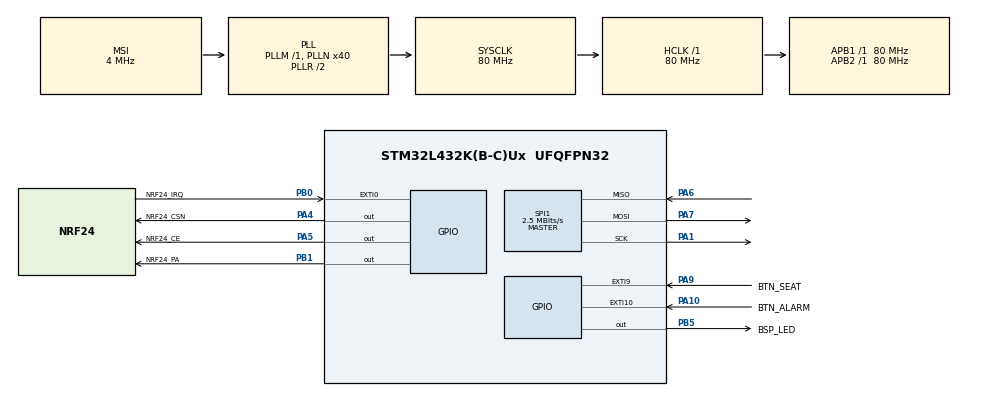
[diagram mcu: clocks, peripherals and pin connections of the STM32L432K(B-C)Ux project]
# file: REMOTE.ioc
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FREERTOS.INCLUDE_vTaskDelayUntil=1
FREERTOS.Tasks01=KeylessTask,0,256,StartKeylessTask,Default,NULL,Dynamic,NULL,NULL
FREERTOS.configCHECK_FOR_STACK_OVERFLOW=2
FREERTOS.configMINIMAL_STACK_SIZE=128
FREERTOS.configUSE_MALLOC_FAILED_HOOK=1
FREERTOS.configUSE_TICKLESS_IDLE=0
IWDG.Prescaler=IWDG_PRESCALER_32
Mcu.Family=STM32L4
Mcu.Name=STM32L432K(B-C)Ux
Mcu.Package=UFQFPN32
Mcu.UserConstants=PING_INTERVAL_MS,3000;IWDG_TIMEOUT_MS,4095
NVIC.EXTI0_IRQn=true\:5\:0\:false\:false\:true\:true\:true\:true
NVIC.EXTI15_10_IRQn=true\:5\:0\:false\:false\:true\:true\:true\:true
NVIC.EXTI9_5_IRQn=true\:5\:0\:false\:false\:true\:true\:true\:true
NVIC.PriorityGroup=NVIC_PRIORITYGROUP_4
NVIC.RTC_WKUP_IRQn=true\:5\:0\:false\:false\:true\:true\:true\:true
NVIC.TIM1_UP_TIM16_IRQn=true\:0\:0\:false\:false\:true\:false\:false\:true
NVIC.TimeBase=TIM1_UP_TIM16_IRQn
NVIC.TimeBaseIP=TIM1
PA1.Mode=Full_Duplex_Master
PA1.Signal=SPI1_SCK
PA10.GPIO_Label=BTN_ALARM
PA10.GPIO_PuPd=GPIO_PULLDOWN
PA10.Signal=GPXTI10
PA13\ (JTMS-SWDIO).Mode=Trace_Asynchronous_SW
PA13\ (JTMS-SWDIO).Signal=SYS_JTMS-SWDIO
PA14\ (JTCK-SWCLK).Mode=Trace_Asynchronous_SW
PA14\ (JTCK-SWCLK).Signal=SYS_JTCK-SWCLK
PA4.GPIO_Label=NRF24_CSN
PA4.GPIO_Speed=GPIO_SPEED_FREQ_MEDIUM
PA4.PinState=GPIO_PIN_SET
PA4.Signal=GPIO_Output
PA5.GPIO_Label=NRF24_CE
PA5.GPIO_Speed=GPIO_SPEED_FREQ_MEDIUM
PA5.Signal=GPIO_Output
PA6.Mode=Full_Duplex_Master
PA6.Signal=SPI1_MISO
PA7.Mode=Full_Duplex_Master
PA7.Signal=SPI1_MOSI
PA9.GPIO_Label=BTN_SEAT
PA9.GPIO_PuPd=GPIO_PULLDOWN
PA9.Signal=GPXTI9
PB0.GPIO_Label=NRF24_IRQ
PB0.GPIO_ModeDefaultEXTI=GPIO_MODE_IT_FALLING
PB0.GPIO_PuPd=GPIO_PULLUP
PB0.Signal=GPXTI0
PB1.GPIO_Label=NRF24_PA
PB1.PinState=GPIO_PIN_SET
PB1.Signal=GPIO_Output
PB3\ (JTDO-TRACESWO).Mode=Trace_Asynchronous_SW
PB3\ (JTDO-TRACESWO).Signal=SYS_JTDO-SWO
PB5.GPIO_Label=BSP_LED
PB5.Signal=GPIO_Output
PC14-OSC32_IN\ (PC14).Mode=LSE-External-Oscillator
PC14-OSC32_IN\ (PC14).Signal=RCC_OSC32_IN
PC15-OSC32_OUT\ (PC15).Mode=LSE-External-Oscillator
PC15-OSC32_OUT\ (PC15).Signal=RCC_OSC32_OUT
ProjectManager.HeapSize=0x200
ProjectManager.StackSize=0x400
ProjectManager.TargetToolchain=STM32CubeIDE
RCC.ADCFreq_Value=16000000
RCC.AHBFreq_Value=80000000
RCC.APB1Freq_Value=80000000
RCC.APB1TimFreq_Value=80000000
RCC.APB2Freq_Value=80000000
RCC.APB2TimFreq_Value=80000000
RCC.CortexFreq_Value=80000000
RCC.HCLKFreq_Value=80000000
RCC.HSE_Timout=100
RCC.HSE_VALUE=8000000
RCC.HSI48_VALUE=48000000
RCC.HSI_VALUE=16000000
RCC.LSE_Timout=5000
RCC.MSI_VALUE=4000000
RCC.PLLN=40
RCC.RTCClockSelection=RCC_RTCCLKSOURCE_LSE
RCC.SYSCLKFreq_VALUE=80000000
RCC.SYSCLKSource=RCC_SYSCLKSOURCE_PLLCLK
RCC.USBFreq_Value=16000000
RCC.VCOOutputFreq_Value=160000000
RCC.VDD_VALUE=3.3
SPI1.BaudRatePrescaler=SPI_BAUDRATEPRESCALER_32
SPI1.CalculateBaudRate=2.5 MBits/s
SPI1.DataSize=SPI_DATASIZE_8BIT
SPI1.Direction=SPI_DIRECTION_2LINES
SPI1.Mode=SPI_MODE_MASTER
SPI1.VirtualType=VM_MASTER
VP_FREERTOS_VS_CMSIS_V1.Mode=CMSIS_V1
VP_IWDG_VS_IWDG.Mode=IWDG_Activate
VP_RTC_VS_RTC_Activate.Mode=RTC_Enabled
VP_RTC_VS_RTC_WakeUp_intern.Mode=WakeUp
VP_SYS_VS_tim1.Mode=TIM1
board=custom

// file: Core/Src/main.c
/* USER CODE BEGIN Header */
/**
 ******************************************************************************
 * @file           : main.c
 * @brief          : Main program body
 ******************************************************************************
 * @attention
 *
 * <h2><center>&copy; Copyright (c) 2019 STMicroelectronics.
 * All rights reserved.</center></h2>
 *
 * This software component is licensed by ST under BSD 3-Clause license,
 * the "License"; You may not use this file except in compliance with the
 * License. You may obtain a copy of the License at:
 *                        opensource.org/licenses/BSD-3-Clause
 *
 ******************************************************************************
 */
/* USER CODE END Header */

#include "main.h"
#include "cmsis_os.h"

/* USER CODE BEGIN Includes */
#include "limits.h"
#include "_config.h"
#include "_nrf24l01.h"
/* USER CODE END Includes */

IWDG_HandleTypeDef hiwdg;

RTC_HandleTypeDef hrtc;

SPI_HandleTypeDef hspi1;

osThreadId KeylessTaskHandle;

void SystemClock_Config(void);
static void MX_GPIO_Init(void);
static void MX_SPI1_Init(void);
static void MX_RTC_Init(void);
static void MX_IWDG_Init(void);
void StartKeylessTask(void const *argument);

/* USER CODE BEGIN PFP */
void PreSleepProcessing(void);
void PostSleepProcessing(void);
/* USER CODE END PFP */

int main(void)
{

	/* MCU Configuration--------------------------------------------------------*/

	/* Reset of all peripherals, Initializes the Flash interface and the Systick. */
	HAL_Init();

	/* Configure the system clock */
	SystemClock_Config();

	/* Initialize all configured peripherals */
	MX_GPIO_Init();
	MX_SPI1_Init();
	MX_RTC_Init();
	MX_IWDG_Init();

	/* Create the thread(s) */
	/* definition and creation of KeylessTask */
	osThreadDef(KeylessTask, StartKeylessTask, osPriorityNormal, 0, 256);
	KeylessTaskHandle = osThreadCreate(osThread(KeylessTask), NULL);

	/* Start scheduler */
	osKernelStart();

	/* We should never get here as control is now taken by the scheduler */

	/* Infinite loop */
	while (1)
	{

	}
}

void SystemClock_Config(void)
{
	RCC_OscInitTypeDef RCC_OscInitStruct = { 0 };
	RCC_ClkInitTypeDef RCC_ClkInitStruct = { 0 };
	RCC_PeriphCLKInitTypeDef PeriphClkInit = { 0 };

	/** Configure LSE Drive Capability
	 */
	HAL_PWR_EnableBkUpAccess();
	__HAL_RCC_LSEDRIVE_CONFIG(RCC_LSEDRIVE_LOW);
	/** Initializes the CPU, AHB and APB busses clocks
	 */
	RCC_OscInitStruct.OscillatorType = RCC_OSCILLATORTYPE_LSI | RCC_OSCILLATORTYPE_LSE
			| RCC_OSCILLATORTYPE_MSI;
	RCC_OscInitStruct.LSEState = RCC_LSE_ON;
	RCC_OscInitStruct.LSIState = RCC_LSI_ON;
	RCC_OscInitStruct.MSIState = RCC_MSI_ON;
	RCC_OscInitStruct.MSICalibrationValue = 0;
	RCC_OscInitStruct.MSIClockRange = RCC_MSIRANGE_6;
	RCC_OscInitStruct.PLL.PLLState = RCC_PLL_ON;
	RCC_OscInitStruct.PLL.PLLSource = RCC_PLLSOURCE_MSI;
	RCC_OscInitStruct.PLL.PLLM = 1;
	RCC_OscInitStruct.PLL.PLLN = 40;
	RCC_OscInitStruct.PLL.PLLP = RCC_PLLP_DIV7;
	RCC_OscInitStruct.PLL.PLLQ = RCC_PLLQ_DIV2;
	RCC_OscInitStruct.PLL.PLLR = RCC_PLLR_DIV2;
	if (HAL_RCC_OscConfig(&RCC_OscInitStruct) != HAL_OK)
			{
		Error_Handler();
	}
	/** Initializes the CPU, AHB and APB busses clocks
	 */
	RCC_ClkInitStruct.ClockType = RCC_CLOCKTYPE_HCLK | RCC_CLOCKTYPE_SYSCLK
			| RCC_CLOCKTYPE_PCLK1 | RCC_CLOCKTYPE_PCLK2;
	RCC_ClkInitStruct.SYSCLKSource = RCC_SYSCLKSOURCE_PLLCLK;
	RCC_ClkInitStruct.AHBCLKDivider = RCC_SYSCLK_DIV1;
	RCC_ClkInitStruct.APB1CLKDivider = RCC_HCLK_DIV1;
	RCC_ClkInitStruct.APB2CLKDivider = RCC_HCLK_DIV1;

	if (HAL_RCC_ClockConfig(&RCC_ClkInitStruct, FLASH_LATENCY_4) != HAL_OK)
			{
		Error_Handler();
	}
	PeriphClkInit.PeriphClockSelection = RCC_PERIPHCLK_RTC;
	PeriphClkInit.RTCClockSelection = RCC_RTCCLKSOURCE_LSE;
	if (HAL_RCCEx_PeriphCLKConfig(&PeriphClkInit) != HAL_OK)
			{
		Error_Handler();
	}
	/** Configure the main internal regulator output voltage
	 */
	if (HAL_PWREx_ControlVoltageScaling(PWR_REGULATOR_VOLTAGE_SCALE1) != HAL_OK)
			{
		Error_Handler();
	}
	/** Enable MSI Auto calibration
	 */
	HAL_RCCEx_EnableMSIPLLMode();
}

static void MX_IWDG_Init(void)
{

	hiwdg.Instance = IWDG;
	hiwdg.Init.Prescaler = IWDG_PRESCALER_32;
	hiwdg.Init.Window = 4095;
	hiwdg.Init.Reload = 4095;
	if (HAL_IWDG_Init(&hiwdg) != HAL_OK)
			{
		Error_Handler();
	}

}

static void MX_RTC_Init(void)
{

	/** Initialize RTC Only
	 */
	hrtc.Instance = RTC;
	hrtc.Init.HourFormat = RTC_HOURFORMAT_24;
	hrtc.Init.AsynchPrediv = 127;
	hrtc.Init.SynchPrediv = 255;
	hrtc.Init.OutPut = RTC_OUTPUT_DISABLE;
	hrtc.Init.OutPutRemap = RTC_OUTPUT_REMAP_NONE;
	hrtc.Init.OutPutPolarity = RTC_OUTPUT_POLARITY_HIGH;
	hrtc.Init.OutPutType = RTC_OUTPUT_TYPE_OPENDRAIN;
	if (HAL_RTC_Init(&hrtc) != HAL_OK)
			{
		Error_Handler();
	}
	/** Enable the WakeUp
	 */
	if (HAL_RTCEx_SetWakeUpTimer_IT(&hrtc, 0, RTC_WAKEUPCLOCK_RTCCLK_DIV16) != HAL_OK)
			{
		Error_Handler();
	}

}

static void MX_SPI1_Init(void)
{

	/* SPI1 parameter configuration*/
	hspi1.Instance = SPI1;
	hspi1.Init.Mode = SPI_MODE_MASTER;
	hspi1.Init.Direction = SPI_DIRECTION_2LINES;
	hspi1.Init.DataSize = SPI_DATASIZE_8BIT;
	hspi1.Init.CLKPolarity = SPI_POLARITY_LOW;
	hspi1.Init.CLKPhase = SPI_PHASE_1EDGE;
	hspi1.Init.NSS = SPI_NSS_SOFT;
	hspi1.Init.BaudRatePrescaler = SPI_BAUDRATEPRESCALER_32;
	hspi1.Init.FirstBit = SPI_FIRSTBIT_MSB;
	hspi1.Init.TIMode = SPI_TIMODE_DISABLE;
	hspi1.Init.CRCCalculation = SPI_CRCCALCULATION_DISABLE;
	hspi1.Init.CRCPolynomial = 7;
	hspi1.Init.CRCLength = SPI_CRC_LENGTH_DATASIZE;
	hspi1.Init.NSSPMode = SPI_NSS_PULSE_ENABLE;
	if (HAL_SPI_Init(&hspi1) != HAL_OK)
			{
		Error_Handler();
	}

}

static void MX_GPIO_Init(void)
{
	GPIO_InitTypeDef GPIO_InitStruct = { 0 };

	/* GPIO Ports Clock Enable */
	__HAL_RCC_GPIOC_CLK_ENABLE();
	__HAL_RCC_GPIOA_CLK_ENABLE();
	__HAL_RCC_GPIOB_CLK_ENABLE();
	__HAL_RCC_GPIOH_CLK_ENABLE();

	/*Configure GPIO pin Output Level */
	HAL_GPIO_WritePin(NRF24_CSN_GPIO_Port, NRF24_CSN_Pin, GPIO_PIN_SET);

	/*Configure GPIO pin Output Level */
	HAL_GPIO_WritePin(NRF24_CE_GPIO_Port, NRF24_CE_Pin, GPIO_PIN_RESET);

	/*Configure GPIO pin Output Level */
	HAL_GPIO_WritePin(NRF24_PA_GPIO_Port, NRF24_PA_Pin, GPIO_PIN_SET);

	/*Configure GPIO pin Output Level */
	HAL_GPIO_WritePin(BSP_LED_GPIO_Port, BSP_LED_Pin, GPIO_PIN_RESET);

	/*Configure GPIO pins : PA0 PA2 PA3 PA8
	 PA11 PA12 PA15 */
	GPIO_InitStruct.Pin = GPIO_PIN_0 | GPIO_PIN_2 | GPIO_PIN_3 | GPIO_PIN_8
			| GPIO_PIN_11 | GPIO_PIN_12 | GPIO_PIN_15;
	GPIO_InitStruct.Mode = GPIO_MODE_ANALOG;
	GPIO_InitStruct.Pull = GPIO_NOPULL;
	HAL_GPIO_Init(GPIOA, &GPIO_InitStruct);

	/*Configure GPIO pins : NRF24_CSN_Pin NRF24_CE_Pin */
	GPIO_InitStruct.Pin = NRF24_CSN_Pin | NRF24_CE_Pin;
	GPIO_InitStruct.Mode = GPIO_MODE_OUTPUT_PP;
	GPIO_InitStruct.Pull = GPIO_NOPULL;
	GPIO_InitStruct.Speed = GPIO_SPEED_FREQ_MEDIUM;
	HAL_GPIO_Init(GPIOA, &GPIO_InitStruct);

	/*Configure GPIO pin : NRF24_IRQ_Pin */
	GPIO_InitStruct.Pin = NRF24_IRQ_Pin;
	GPIO_InitStruct.Mode = GPIO_MODE_IT_FALLING;
	GPIO_InitStruct.Pull = GPIO_PULLUP;
	HAL_GPIO_Init(NRF24_IRQ_GPIO_Port, &GPIO_InitStruct);

	/*Configure GPIO pins : NRF24_PA_Pin BSP_LED_Pin */
	GPIO_InitStruct.Pin = NRF24_PA_Pin | BSP_LED_Pin;
	GPIO_InitStruct.Mode = GPIO_MODE_OUTPUT_PP;
	GPIO_InitStruct.Pull = GPIO_NOPULL;
	GPIO_InitStruct.Speed = GPIO_SPEED_FREQ_LOW;
	HAL_GPIO_Init(GPIOB, &GPIO_InitStruct);

	/*Configure GPIO pins : BTN_SEAT_Pin BTN_ALARM_Pin */
	GPIO_InitStruct.Pin = BTN_SEAT_Pin | BTN_ALARM_Pin;
	GPIO_InitStruct.Mode = GPIO_MODE_IT_RISING;
	GPIO_InitStruct.Pull = GPIO_PULLDOWN;
	HAL_GPIO_Init(GPIOA, &GPIO_InitStruct);

	/*Configure GPIO pins : PB4 PB6 PB7 */
	GPIO_InitStruct.Pin = GPIO_PIN_4 | GPIO_PIN_6 | GPIO_PIN_7;
	GPIO_InitStruct.Mode = GPIO_MODE_ANALOG;
	GPIO_InitStruct.Pull = GPIO_NOPULL;
	HAL_GPIO_Init(GPIOB, &GPIO_InitStruct);

	/*Configure GPIO pin : PH3 */
	GPIO_InitStruct.Pin = GPIO_PIN_3;
	GPIO_InitStruct.Mode = GPIO_MODE_ANALOG;
	GPIO_InitStruct.Pull = GPIO_NOPULL;
	HAL_GPIO_Init(GPIOH, &GPIO_InitStruct);

	/* EXTI interrupt init*/
	HAL_NVIC_SetPriority(EXTI0_IRQn, 5, 0);
	HAL_NVIC_EnableIRQ(EXTI0_IRQn);

	HAL_NVIC_SetPriority(EXTI9_5_IRQn, 5, 0);
	HAL_NVIC_EnableIRQ(EXTI9_5_IRQn);

	HAL_NVIC_SetPriority(EXTI15_10_IRQn, 5, 0);
	HAL_NVIC_EnableIRQ(EXTI15_10_IRQn);

}

/* USER CODE BEGIN 4 */
void HAL_GPIO_EXTI_Callback(uint16_t GPIO_Pin) {
	BaseType_t xHigherPriorityTaskWoken = pdFALSE;
	extern nrf24l01 nrf;

	if (osKernelRunning()) {
		// handle NRF24 IRQ
		if (GPIO_Pin == NRF24_IRQ_Pin) {
			nrf_irq_handler(&nrf);
		}
		// handle buttons
		if (GPIO_Pin == BTN_ALARM_Pin || GPIO_Pin == BTN_SEAT_Pin) {
			xTaskNotifyFromISR(KeylessTaskHandle, GPIO_Pin, eSetBits, &xHigherPriorityTaskWoken);
		}
	}

	portYIELD_FROM_ISR(xHigherPriorityTaskWoken);
}

void PreSleepProcessing(void)
{
	GPIO_InitTypeDef GPIO_InitStruct = { 0 };

	// Prepare to enter sleep mode
	__HAL_RCC_SPI1_CLK_DISABLE();
	GPIO_InitStruct.Pin = GPIO_PIN_1 | GPIO_PIN_6 | GPIO_PIN_7;
	GPIO_InitStruct.Mode = GPIO_MODE_OUTPUT_PP;
	GPIO_InitStruct.Pull = GPIO_PULLDOWN;
	HAL_GPIO_Init(GPIOA, &GPIO_InitStruct);
	__HAL_RCC_GPIOA_CLK_DISABLE();

	/* RTC Wakeup Interrupt Generation:
	 RTC_WAKEUPCLOCK_RTCCLK_DIV = RTCCLK_Div16 = 16

	 Wakeup Time Base = (RTC_WAKEUPCLOCK_RTCCLK_DIV /(LSE))
	 Wakeup Time = Wakeup Time Base * WakeUpCounter
	 WakeUpCounter = Wakeup Time / Wakeup Time Base

	 To configure the wake up timer to:
	 Wakeup Time Base = 16 / (32.768KHz) = 0.48828125 ms
	 WakeUpCounter = X ms / 0.48828125 ms = ?

	 Therefore, maximum wake-up counter = 65535 = 0xFFFF
	 */
	HAL_RTCEx_SetWakeUpTimer_IT(&hrtc, ((PING_INTERVAL_MS * 1000) / 488), RTC_WAKEUPCLOCK_RTCCLK_DIV16);

	// Suspend the tick
	HAL_SuspendTick();

	// Enter STOP 2 mode
	HAL_PWREx_EnterSTOP2Mode(PWR_STOPENTRY_WFI);
}

void PostSleepProcessing(void)
{
	GPIO_InitTypeDef GPIO_InitStruct = { 0 };

	// Resume the tick
	HAL_ResumeTick();

	// Re-Configure the system clock
	SystemClock_Config();

	/* Disable all used wake-up source */
	HAL_RTCEx_DeactivateWakeUpTimer(&hrtc);

	// Re-Init the SPI
	__HAL_RCC_SPI1_CLK_ENABLE();
	__HAL_RCC_GPIOA_CLK_ENABLE();
	GPIO_InitStruct.Pin = GPIO_PIN_1 | GPIO_PIN_6 | GPIO_PIN_7;
	GPIO_InitStruct.Mode = GPIO_MODE_AF_PP;
	GPIO_InitStruct.Pull = GPIO_NOPULL;
	GPIO_InitStruct.Speed = GPIO_SPEED_FREQ_VERY_HIGH;
	GPIO_InitStruct.Alternate = GPIO_AF5_SPI1;
	HAL_GPIO_Init(GPIOA, &GPIO_InitStruct);
}

/* USER CODE END 4 */

void StartKeylessTask(void const *argument)
{
	/* USER CODE BEGIN 5 */
	extern nrf24l01 nrf;
	uint32_t GPIO_Pin;
	GPIO_TypeDef *GPIO_Port;
	BaseType_t xResult;
	nrf24l01_config config;
	NRF_TX_PWR power;

	uint8_t msg;
	uint8_t payload_length = 8;
	uint8_t payload_tx[] = { 0, 0, 0, 0, 0, 0, 0, 0 };

	// set configuration
	nrf_set_config(&config, payload_tx, payload_length);
	// initialization
	nrf_init(&nrf, &config);

	/* Infinite loop */
	for (;;) {
		// Fed the dog
		HAL_IWDG_Refresh(&hiwdg);

		// set default power to lowest
		power = NRF_TX_PWR_M18dBm;
		msg = MSG_KEYLESS_BROADCAST;

		// check if event happen
		xResult = xTaskNotifyWait(0x00, ULONG_MAX, &GPIO_Pin, pdMS_TO_TICKS(0));

		// do this if events occurred
		if (xResult == pdTRUE) {
			// handle bounce effect
			osDelay(50);
			xTaskNotifyStateClear(NULL);

			// read again the value
			GPIO_Port = (GPIO_Pin == BTN_ALARM_Pin ? BTN_ALARM_GPIO_Port : BTN_SEAT_GPIO_Port);
			if (HAL_GPIO_ReadPin(GPIO_Port, GPIO_Pin)) {
				// only check when button HIGH
				if ((GPIO_Pin == BTN_ALARM_Pin)) {
					// Finder command
					msg = MSG_KEYLESS_FINDER;
					power = NRF_TX_PWR_0dBm;
				} else {
					// Seat Unlock command
					msg = MSG_KEYLESS_SEAT;
				}
			}
		}

		if (xResult == pdFALSE || msg != MSG_KEYLESS_BROADCAST) {
			// prepare payload
			payload_tx[payload_length - 1] = msg;
			Set_PA((power == NRF_TX_PWR_0dBm));

			// change "Power Down" -> "Standby I"
			nrf_power_up(&nrf, 1);

			// "Standby I" : set power
			nrf_set_tx_power(&nrf, power);

			// "TX Mode" : send packet (blocking)
			nrf_send_packet_noack(&nrf, payload_tx);

			// change "TX Mode" -> "Power Down"
			ce_reset(&nrf);
			nrf_power_up(&nrf, 0);

			//			// indicator
			//			for (int i = 0; i < ((msg + 1) * 2); i++) {
			//				BSP_Led_Toggle();
			//				osDelay(50);
			//			}
		}

		// Enter Stop-2 mode
		PreSleepProcessing();

		// Exit Stop-2 mode
		PostSleepProcessing();
	}
	/* USER CODE END 5 */
}

void HAL_TIM_PeriodElapsedCallback(TIM_HandleTypeDef *htim)
{
	if (htim->Instance == TIM1) {
		HAL_IncTick();
	}
}

void Error_Handler(void)
{
	/* USER CODE BEGIN Error_Handler_Debug */
	/* User can add his own implementation to report the HAL error return state */
	while (1)
		;

	/* USER CODE END Error_Handler_Debug */
}

/************************ (C) COPYRIGHT STMicroelectronics *****END OF FILE****/

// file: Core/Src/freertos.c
/* USER CODE BEGIN Header */
/**
  ******************************************************************************
  * File Name          : freertos.c
  * Description        : Code for freertos applications
  ******************************************************************************
  * @attention
  *
  * <h2><center>&copy; Copyright (c) 2019 STMicroelectronics.
  * All rights reserved.</center></h2>
  *
  * This software component is licensed by ST under Ultimate Liberty license
  * SLA0044, the "License"; You may not use this file except in compliance with
  * the License. You may obtain a copy of the License at:
  *                             www.st.com/SLA0044
  *
  ******************************************************************************
  */
/* USER CODE END Header */

#include "FreeRTOS.h"
#include "task.h"
#include "main.h"

/* Pre/Post sleep processing prototypes */
void PreSleepProcessing(uint32_t *ulExpectedIdleTime);
void PostSleepProcessing(uint32_t *ulExpectedIdleTime);

/* GetIdleTaskMemory prototype (linked to static allocation support) */
void vApplicationGetIdleTaskMemory( StaticTask_t **ppxIdleTaskTCBBuffer, StackType_t **ppxIdleTaskStackBuffer, uint32_t *pulIdleTaskStackSize );

/* Hook prototypes */
void vApplicationStackOverflowHook(xTaskHandle xTask, signed char *pcTaskName);
void vApplicationMallocFailedHook(void);

/* USER CODE BEGIN 4 */
__weak void vApplicationStackOverflowHook(xTaskHandle xTask, signed char *pcTaskName)
{
   /* Run time stack overflow checking is performed if
   configCHECK_FOR_STACK_OVERFLOW is defined to 1 or 2. This hook function is
   called if a stack overflow is detected. */
}
/* USER CODE END 4 */

/* USER CODE BEGIN 5 */
__weak void vApplicationMallocFailedHook(void)
{
   /* vApplicationMallocFailedHook() will only be called if
   configUSE_MALLOC_FAILED_HOOK is set to 1 in FreeRTOSConfig.h. It is a hook
   function that will get called if a call to pvPortMalloc() fails.
   pvPortMalloc() is called internally by the kernel whenever a task, queue,
   timer or semaphore is created. It is also called by various parts of the
   demo application. If heap_1.c or heap_2.c are used, then the size of the
   heap available to pvPortMalloc() is defined by configTOTAL_HEAP_SIZE in
   FreeRTOSConfig.h, and the xPortGetFreeHeapSize() API function can be used
   to query the size of free heap space that remains (although it does not
   provide information on how the remaining heap might be fragmented). */
}
/* USER CODE END 5 */

/* USER CODE BEGIN PREPOSTSLEEP */
__weak void PreSleepProcessing(uint32_t *ulExpectedIdleTime)
{
/* place for user code */
}

__weak void PostSleepProcessing(uint32_t *ulExpectedIdleTime)
{
/* place for user code */
}
/* USER CODE END PREPOSTSLEEP */

/* USER CODE BEGIN GET_IDLE_TASK_MEMORY */
static StaticTask_t xIdleTaskTCBBuffer;
static StackType_t xIdleStack[configMINIMAL_STACK_SIZE];

void vApplicationGetIdleTaskMemory( StaticTask_t **ppxIdleTaskTCBBuffer, StackType_t **ppxIdleTaskStackBuffer, uint32_t *pulIdleTaskStackSize )
{
  *ppxIdleTaskTCBBuffer = &xIdleTaskTCBBuffer;
  *ppxIdleTaskStackBuffer = &xIdleStack[0];
  *pulIdleTaskStackSize = configMINIMAL_STACK_SIZE;
  /* place for user code */
}
/* USER CODE END GET_IDLE_TASK_MEMORY */

/************************ (C) COPYRIGHT STMicroelectronics *****END OF FILE****/
